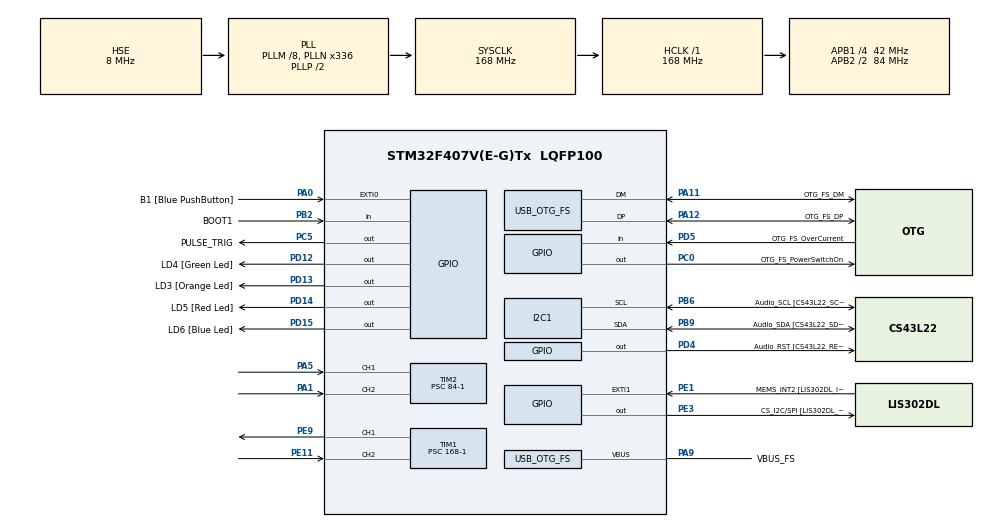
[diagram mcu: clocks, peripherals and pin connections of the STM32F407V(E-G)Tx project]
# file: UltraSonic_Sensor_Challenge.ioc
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Mcu.Family=STM32F4
Mcu.Name=STM32F407V(E-G)Tx
Mcu.Package=LQFP100
NVIC.OTG_FS_IRQn=true\:0\:0\:false\:false\:true\:true\:true\:true
NVIC.PriorityGroup=NVIC_PRIORITYGROUP_0
NVIC.TIM2_IRQn=true\:0\:0\:false\:false\:true\:true\:true\:true
PA0-WKUP.GPIO_Label=B1 [Blue PushButton]
PA0-WKUP.GPIO_ModeDefaultEXTI=GPIO_MODE_EVT_RISING
PA0-WKUP.GPIO_PuPd=GPIO_NOPULL
PA0-WKUP.Signal=GPXTI0
PA1.Signal=S_TIM2_CH2
PA10.GPIO_Label=OTG_FS_ID
PA10.GPIO_Mode=GPIO_MODE_AF_PP
PA10.GPIO_PuPd=GPIO_NOPULL
PA10.GPIO_Speed=GPIO_SPEED_FREQ_LOW
PA10.Signal=USB_OTG_FS_ID
PA11.GPIO_Label=OTG_FS_DM
PA11.GPIO_Mode=GPIO_MODE_AF_PP
PA11.GPIO_PuPd=GPIO_NOPULL
PA11.GPIO_Speed=GPIO_SPEED_FREQ_LOW
PA11.Mode=Host_Only
PA11.Signal=USB_OTG_FS_DM
PA12.GPIO_Label=OTG_FS_DP
PA12.GPIO_Mode=GPIO_MODE_AF_PP
PA12.GPIO_PuPd=GPIO_NOPULL
PA12.GPIO_Speed=GPIO_SPEED_FREQ_LOW
PA12.Mode=Host_Only
PA12.Signal=USB_OTG_FS_DP
PA13.GPIO_Label=SWDIO
PA13.Mode=Serial_Wire
PA13.Signal=SYS_JTMS-SWDIO
PA14.GPIO_Label=SWCLK
PA14.Mode=Serial_Wire
PA14.Signal=SYS_JTCK-SWCLK
PA5.Signal=S_TIM2_CH1_ETR
PA9.GPIO_Label=VBUS_FS
PA9.GPIO_Mode=GPIO_MODE_INPUT
PA9.GPIO_PuPd=GPIO_NOPULL
PA9.Mode=Activate_VBUS
PA9.Signal=USB_OTG_FS_VBUS
PB10.GPIO_Label=CLK_IN [MP45DT02_CLK]
PB10.GPIO_Mode=GPIO_MODE_AF_PP
PB10.GPIO_PuPd=GPIO_NOPULL
PB10.GPIO_Speed=GPIO_SPEED_FREQ_LOW
PB10.Signal=I2S2_CK
PB2.GPIO_Label=BOOT1
PB2.GPIO_Mode=GPIO_MODE_INPUT
PB2.GPIO_PuPd=GPIO_NOPULL
PB2.Signal=GPIO_Input
PB3.GPIO_Label=SWO
PB3.Signal=SYS_JTDO-SWO
PB6.GPIO_Label=Audio_SCL [CS43L22_SCL]
PB6.GPIO_Mode=GPIO_MODE_AF_OD
PB6.GPIO_Pu=GPIO_PULLUP
PB6.GPIO_PuPd=GPIO_NOPULL
PB6.GPIO_Speed=GPIO_SPEED_FREQ_LOW
PB6.Mode=I2C
PB6.Signal=I2C1_SCL
PB9.GPIO_Label=Audio_SDA [CS43L22_SDA]
PB9.GPIO_Mode=GPIO_MODE_AF_OD
PB9.GPIO_Pu=GPIO_PULLUP
PB9.GPIO_PuPd=GPIO_NOPULL
PB9.GPIO_Speed=GPIO_SPEED_FREQ_LOW
PB9.Mode=I2C
PB9.Signal=I2C1_SDA
PC0.GPIO_Label=OTG_FS_PowerSwitchOn
PC0.GPIO_PuPd=GPIO_NOPULL
PC0.GPIO_Speed=GPIO_SPEED_FREQ_LOW
PC0.PinState=GPIO_PIN_SET
PC0.Signal=GPIO_Output
PC10.GPIO_Label=I2S3_SCK [CS43L22_SCLK]
PC10.GPIO_Mode=GPIO_MODE_AF_PP
PC10.GPIO_PuPd=GPIO_NOPULL
PC10.GPIO_Speed=GPIO_SPEED_FREQ_LOW
PC10.Signal=I2S3_CK
PC12.GPIO_Label=I2S3_SD [CS43L22_SDIN]
PC12.GPIO_Mode=GPIO_MODE_AF_PP
PC12.GPIO_PuPd=GPIO_NOPULL
PC12.GPIO_Speed=GPIO_SPEED_FREQ_LOW
PC12.Signal=I2S3_SD
PC14-OSC32_IN.GPIO_Label=PC14-OSC32_IN
PC14-OSC32_IN.Mode=LSE-External-Oscillator
PC14-OSC32_IN.Signal=RCC_OSC32_IN
PC15-OSC32_OUT.GPIO_Label=PC15-OSC32_OUT
PC15-OSC32_OUT.Mode=LSE-External-Oscillator
PC15-OSC32_OUT.Signal=RCC_OSC32_OUT
PC3.GPIO_Label=PDM_OUT [MP45DT02_DOUT]
PC3.GPIO_Mode=GPIO_MODE_AF_PP
PC3.GPIO_PuPd=GPIO_NOPULL
PC3.GPIO_Speed=GPIO_SPEED_FREQ_LOW
PC3.Signal=I2S2_SD
PC5.GPIO_Label=PULSE_TRIG
PC5.Signal=GPIO_Output
PC7.GPIO_Label=I2S3_MCK [CS43L22_MCLK]
PC7.GPIO_Mode=GPIO_MODE_AF_PP
PC7.GPIO_PuPd=GPIO_NOPULL
PC7.GPIO_Speed=GPIO_SPEED_FREQ_LOW
PC7.Signal=I2S3_MCK
PD12.GPIO_Label=LD4 [Green Led]
PD12.GPIO_PuPd=GPIO_NOPULL
PD12.GPIO_Speed=GPIO_SPEED_FREQ_LOW
PD12.Signal=GPIO_Output
PD13.GPIO_Label=LD3 [Orange Led]
PD13.GPIO_PuPd=GPIO_NOPULL
PD13.GPIO_Speed=GPIO_SPEED_FREQ_LOW
PD13.Signal=GPIO_Output
PD14.GPIO_Label=LD5 [Red Led]
PD14.GPIO_PuPd=GPIO_NOPULL
PD14.GPIO_Speed=GPIO_SPEED_FREQ_LOW
PD14.Signal=GPIO_Output
PD15.GPIO_Label=LD6 [Blue Led]
PD15.GPIO_PuPd=GPIO_NOPULL
PD15.GPIO_Speed=GPIO_SPEED_FREQ_LOW
PD15.Signal=GPIO_Output
PD4.GPIO_Label=Audio_RST [CS43L22_RESET]
PD4.GPIO_PuPd=GPIO_NOPULL
PD4.GPIO_Speed=GPIO_SPEED_FREQ_LOW
PD4.Signal=GPIO_Output
PD5.GPIO_Label=OTG_FS_OverCurrent
PD5.GPIO_Mode=GPIO_MODE_INPUT
PD5.GPIO_PuPd=GPIO_NOPULL
PD5.Signal=GPIO_Input
PE1.GPIO_Label=MEMS_INT2 [LIS302DL_INT2]
PE1.GPIO_ModeDefaultEXTI=GPIO_MODE_EVT_RISING
PE1.GPIO_PuPd=GPIO_NOPULL
PE1.Signal=GPXTI1
PE11.Signal=S_TIM1_CH2
PE3.GPIO_Label=CS_I2C/SPI [LIS302DL_CS_I2C/SPI]
PE3.GPIO_PuPd=GPIO_NOPULL
PE3.GPIO_Speed=GPIO_SPEED_FREQ_LOW
PE3.Signal=GPIO_Output
PE9.Signal=S_TIM1_CH1
PH0-OSC_IN.GPIO_Label=PH0-OSC_IN
PH0-OSC_IN.Mode=HSE-External-Oscillator
PH0-OSC_IN.Signal=RCC_OSC_IN
PH1-OSC_OUT.GPIO_Label=PH1-OSC_OUT
PH1-OSC_OUT.Mode=HSE-External-Oscillator
PH1-OSC_OUT.Signal=RCC_OSC_OUT
ProjectManager.HeapSize=0x200
ProjectManager.StackSize=0x400
ProjectManager.TargetToolchain=STM32CubeIDE
RCC.48MHZClocksFreq_Value=48000000
RCC.AHBFreq_Value=168000000
RCC.APB1CLKDivider=RCC_HCLK_DIV4
RCC.APB1Freq_Value=42000000
RCC.APB1TimFreq_Value=84000000
RCC.APB2CLKDivider=RCC_HCLK_DIV2
RCC.APB2Freq_Value=84000000
RCC.APB2TimFreq_Value=168000000
RCC.CortexFreq_Value=168000000
RCC.HCLKFreq_Value=168000000
RCC.HSE_VALUE=8000000
RCC.HSI_VALUE=16000000
RCC.PLLM=8
RCC.PLLN=336
RCC.PLLQ=7
RCC.SYSCLKFreq_VALUE=168000000
RCC.SYSCLKSource=RCC_SYSCLKSOURCE_PLLCLK
RCC.VCOOutputFreq_Value=336000000
SH.S_TIM1_CH1.0=TIM1_CH1,PWM Generation1 CH1
SH.S_TIM1_CH2.0=TIM1_CH2,TriggerSource_TI2FP2
SH.S_TIM2_CH1_ETR.0=TIM2_CH1,Input_Capture1_from_TI1
SH.S_TIM2_CH2.0=TIM2_CH2,Input_Capture2_from_TI2
TIM1.Channel-PWM\ Generation1\ CH1=TIM_CHANNEL_1
TIM1.OCMode_PWM-PWM\ Generation1\ CH1=TIM_OCMODE_PWM2
TIM1.Period=20-1
TIM1.Prescaler=168-1
TIM1.Pulse-PWM\ Generation1\ CH1=10-1
TIM2.Channel-Input_Capture1_from_TI1=TIM_CHANNEL_1
TIM2.Channel-Input_Capture2_from_TI2=TIM_CHANNEL_2
TIM2.ICPolarity_CH1=TIM_INPUTCHANNELPOLARITY_RISING
TIM2.ICPolarity_CH2=TIM_INPUTCHANNELPOLARITY_FALLING
TIM2.Period=4294967295
TIM2.Prescaler=84-1
USB_HOST.BSP.number=1
USB_HOST.USBH_HandleTypeDef-CDC_FS=hUsbHostFS
USB_HOST.VirtualModeFS=Cdc
USB_HOST0.BSP.STBoard=false
USB_HOST0.BSP.api=Unknown
USB_HOST0.BSP.instance=PC0
USB_HOST0.BSP.ip=GPIO
USB_HOST0.BSP.mode=Output
USB_HOST0.BSP.name=Drive_VBUS_FS
USB_HOST0.BSP.solution=PC0
USB_OTG_FS.VirtualMode=Host_Only
USB_OTG_FS.phy_itface=HCD_PHY_EMBEDDED
VP_TIM1_VS_ControllerModeTrigger.Mode=Trigger Mode
VP_TIM1_VS_OPM.Mode=OPM_bit
VP_USB_HOST_VS_USB_HOST_CDC_FS.Mode=CDC_FS
board=STM32F407G-DISC1

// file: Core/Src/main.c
/* USER CODE BEGIN Header */
/**
  ******************************************************************************
  * @file           : main.c
  * @brief          : Main program body
  ******************************************************************************
  * @attention
  *
  * Copyright (c) 2025 STMicroelectronics.
  * All rights reserved.
  *
  * This software is licensed under terms that can be found in the LICENSE file
  * in the root directory of this software component.
  * If no LICENSE file comes with this software, it is provided AS-IS.
  *
  ******************************************************************************
  */
/* USER CODE END Header */
#include "main.h"
#include "usb_host.h"

I2C_HandleTypeDef hi2c1;

TIM_HandleTypeDef htim1;
TIM_HandleTypeDef htim2;

/* USER CODE BEGIN PV */

// Variable to save the time of the rising edge of the echo signal
uint32_t gRisingTime = 0;

// Variable to save the time of the falling edge of the echo signal
uint32_t gFallingTime = 0;

// Variable that is used to keep track of the period of the echo signal
uint32_t gTimeOn = 0;

// Variable that stores the converted period of the echo signal in cm
float gDistance = 0;

// Flag for the echo signal ISR
volatile int gEchoFlag = 0;
/* USER CODE END PV */

void SystemClock_Config(void);
static void MX_GPIO_Init(void);
static void MX_I2C1_Init(void);
static void MX_TIM1_Init(void);
static void MX_TIM2_Init(void);
void MX_USB_HOST_Process(void);

int main(void)
{

  /* MCU Configuration--------------------------------------------------------*/

  /* Reset of all peripherals, Initializes the Flash interface and the Systick. */
  HAL_Init();

  /* Configure the system clock */
  SystemClock_Config();

  /* Initialize all configured peripherals */
  MX_GPIO_Init();
  MX_I2C1_Init();
  MX_USB_HOST_Init();
  MX_TIM1_Init();
  MX_TIM2_Init();
  /* USER CODE BEGIN 2 */

  // Start Timer 1 in one pulse mode
  HAL_TIM_OnePulse_Start(&htim1, TIM_CHANNEL_1);

  // Sets the trigger pin to low
  HAL_GPIO_WritePin(PULSE_TRIG_GPIO_Port, PULSE_TRIG_Pin, GPIO_PIN_RESET);

  // Start Timer 2 in input capture mode on channel one and two
  // Channel one is used for the rising edge of the echo signal
  // Channel two is used for the falling edge of the echo signal
  HAL_TIM_IC_Start_IT(&htim2, TIM_CHANNEL_1);
  HAL_TIM_IC_Start_IT(&htim2, TIM_CHANNEL_2);

  /* USER CODE END 2 */

  /* Infinite loop */
  /* USER CODE BEGIN WHILE */
  while (1)
  {
	  // Set trigger pin to high
	  HAL_GPIO_WritePin(PULSE_TRIG_GPIO_Port, PULSE_TRIG_Pin, GPIO_PIN_SET);

	  // Wait 200 ms
	  HAL_Delay(200);

	  // Set trigger pin to low
	  HAL_GPIO_WritePin(PULSE_TRIG_GPIO_Port, PULSE_TRIG_Pin, GPIO_PIN_RESET);

	  // While loop that will hold the code until the echo ISR is triggered and the
	  // flag is changed
	  while (gEchoFlag == 0);

	  gEchoFlag = 0; // Resets the echo flag

	  if (gFallingTime >= gRisingTime)
	  {
	      gTimeOn = gFallingTime - gRisingTime; // Calculates the period of the echo signal
	  }
	  else
	  {
	      // Timer overflowed between captures
	      gTimeOn = (0xFFFFFFFF - gRisingTime) + gFallingTime + 1; // Used in cases of overflow
	  }

	  gDistance = gTimeOn / 58.0; // Converts period of echo wave to cm

    /* USER CODE END WHILE */
    MX_USB_HOST_Process();

  }
}

void SystemClock_Config(void)
{
  RCC_OscInitTypeDef RCC_OscInitStruct = {0};
  RCC_ClkInitTypeDef RCC_ClkInitStruct = {0};

  /** Configure the main internal regulator output voltage
  */
  __HAL_RCC_PWR_CLK_ENABLE();
  __HAL_PWR_VOLTAGESCALING_CONFIG(PWR_REGULATOR_VOLTAGE_SCALE1);

  /** Initializes the RCC Oscillators according to the specified parameters
  * in the RCC_OscInitTypeDef structure.
  */
  RCC_OscInitStruct.OscillatorType = RCC_OSCILLATORTYPE_HSE;
  RCC_OscInitStruct.HSEState = RCC_HSE_ON;
  RCC_OscInitStruct.PLL.PLLState = RCC_PLL_ON;
  RCC_OscInitStruct.PLL.PLLSource = RCC_PLLSOURCE_HSE;
  RCC_OscInitStruct.PLL.PLLM = 8;
  RCC_OscInitStruct.PLL.PLLN = 336;
  RCC_OscInitStruct.PLL.PLLP = RCC_PLLP_DIV2;
  RCC_OscInitStruct.PLL.PLLQ = 7;
  if (HAL_RCC_OscConfig(&RCC_OscInitStruct) != HAL_OK)
  {
    Error_Handler();
  }

  /** Initializes the CPU, AHB and APB buses clocks
  */
  RCC_ClkInitStruct.ClockType = RCC_CLOCKTYPE_HCLK|RCC_CLOCKTYPE_SYSCLK
                              |RCC_CLOCKTYPE_PCLK1|RCC_CLOCKTYPE_PCLK2;
  RCC_ClkInitStruct.SYSCLKSource = RCC_SYSCLKSOURCE_PLLCLK;
  RCC_ClkInitStruct.AHBCLKDivider = RCC_SYSCLK_DIV1;
  RCC_ClkInitStruct.APB1CLKDivider = RCC_HCLK_DIV4;
  RCC_ClkInitStruct.APB2CLKDivider = RCC_HCLK_DIV2;

  if (HAL_RCC_ClockConfig(&RCC_ClkInitStruct, FLASH_LATENCY_5) != HAL_OK)
  {
    Error_Handler();
  }
}

static void MX_I2C1_Init(void)
{

  hi2c1.Instance = I2C1;
  hi2c1.Init.ClockSpeed = 100000;
  hi2c1.Init.DutyCycle = I2C_DUTYCYCLE_2;
  hi2c1.Init.OwnAddress1 = 0;
  hi2c1.Init.AddressingMode = I2C_ADDRESSINGMODE_7BIT;
  hi2c1.Init.DualAddressMode = I2C_DUALADDRESS_DISABLE;
  hi2c1.Init.OwnAddress2 = 0;
  hi2c1.Init.GeneralCallMode = I2C_GENERALCALL_DISABLE;
  hi2c1.Init.NoStretchMode = I2C_NOSTRETCH_DISABLE;
  if (HAL_I2C_Init(&hi2c1) != HAL_OK)
  {
    Error_Handler();
  }

}

static void MX_TIM1_Init(void)
{

  TIM_SlaveConfigTypeDef sSlaveConfig = {0};
  TIM_MasterConfigTypeDef sMasterConfig = {0};
  TIM_OC_InitTypeDef sConfigOC = {0};
  TIM_BreakDeadTimeConfigTypeDef sBreakDeadTimeConfig = {0};

  htim1.Instance = TIM1;
  htim1.Init.Prescaler = 168-1;
  htim1.Init.CounterMode = TIM_COUNTERMODE_UP;
  htim1.Init.Period = 20-1;
  htim1.Init.ClockDivision = TIM_CLOCKDIVISION_DIV1;
  htim1.Init.RepetitionCounter = 0;
  htim1.Init.AutoReloadPreload = TIM_AUTORELOAD_PRELOAD_DISABLE;
  if (HAL_TIM_Base_Init(&htim1) != HAL_OK)
  {
    Error_Handler();
  }
  if (HAL_TIM_PWM_Init(&htim1) != HAL_OK)
  {
    Error_Handler();
  }
  if (HAL_TIM_OnePulse_Init(&htim1, TIM_OPMODE_SINGLE) != HAL_OK)
  {
    Error_Handler();
  }
  sSlaveConfig.SlaveMode = TIM_SLAVEMODE_TRIGGER;
  sSlaveConfig.InputTrigger = TIM_TS_TI2FP2;
  sSlaveConfig.TriggerPolarity = TIM_TRIGGERPOLARITY_RISING;
  sSlaveConfig.TriggerFilter = 0;
  if (HAL_TIM_SlaveConfigSynchro(&htim1, &sSlaveConfig) != HAL_OK)
  {
    Error_Handler();
  }
  sMasterConfig.MasterOutputTrigger = TIM_TRGO_RESET;
  sMasterConfig.MasterSlaveMode = TIM_MASTERSLAVEMODE_DISABLE;
  if (HAL_TIMEx_MasterConfigSynchronization(&htim1, &sMasterConfig) != HAL_OK)
  {
    Error_Handler();
  }
  sConfigOC.OCMode = TIM_OCMODE_PWM2;
  sConfigOC.Pulse = 10-1;
  sConfigOC.OCPolarity = TIM_OCPOLARITY_HIGH;
  sConfigOC.OCNPolarity = TIM_OCNPOLARITY_HIGH;
  sConfigOC.OCFastMode = TIM_OCFAST_DISABLE;
  sConfigOC.OCIdleState = TIM_OCIDLESTATE_RESET;
  sConfigOC.OCNIdleState = TIM_OCNIDLESTATE_RESET;
  if (HAL_TIM_PWM_ConfigChannel(&htim1, &sConfigOC, TIM_CHANNEL_1) != HAL_OK)
  {
    Error_Handler();
  }
  sBreakDeadTimeConfig.OffStateRunMode = TIM_OSSR_DISABLE;
  sBreakDeadTimeConfig.OffStateIDLEMode = TIM_OSSI_DISABLE;
  sBreakDeadTimeConfig.LockLevel = TIM_LOCKLEVEL_OFF;
  sBreakDeadTimeConfig.DeadTime = 0;
  sBreakDeadTimeConfig.BreakState = TIM_BREAK_DISABLE;
  sBreakDeadTimeConfig.BreakPolarity = TIM_BREAKPOLARITY_HIGH;
  sBreakDeadTimeConfig.AutomaticOutput = TIM_AUTOMATICOUTPUT_DISABLE;
  if (HAL_TIMEx_ConfigBreakDeadTime(&htim1, &sBreakDeadTimeConfig) != HAL_OK)
  {
    Error_Handler();
  }
  HAL_TIM_MspPostInit(&htim1);

}

static void MX_TIM2_Init(void)
{

  TIM_MasterConfigTypeDef sMasterConfig = {0};
  TIM_IC_InitTypeDef sConfigIC = {0};

  htim2.Instance = TIM2;
  htim2.Init.Prescaler = 84-1;
  htim2.Init.CounterMode = TIM_COUNTERMODE_UP;
  htim2.Init.Period = 4294967295;
  htim2.Init.ClockDivision = TIM_CLOCKDIVISION_DIV1;
  htim2.Init.AutoReloadPreload = TIM_AUTORELOAD_PRELOAD_DISABLE;
  if (HAL_TIM_IC_Init(&htim2) != HAL_OK)
  {
    Error_Handler();
  }
  sMasterConfig.MasterOutputTrigger = TIM_TRGO_RESET;
  sMasterConfig.MasterSlaveMode = TIM_MASTERSLAVEMODE_DISABLE;
  if (HAL_TIMEx_MasterConfigSynchronization(&htim2, &sMasterConfig) != HAL_OK)
  {
    Error_Handler();
  }
  sConfigIC.ICPolarity = TIM_INPUTCHANNELPOLARITY_RISING;
  sConfigIC.ICSelection = TIM_ICSELECTION_DIRECTTI;
  sConfigIC.ICPrescaler = TIM_ICPSC_DIV1;
  sConfigIC.ICFilter = 0;
  if (HAL_TIM_IC_ConfigChannel(&htim2, &sConfigIC, TIM_CHANNEL_1) != HAL_OK)
  {
    Error_Handler();
  }
  sConfigIC.ICPolarity = TIM_INPUTCHANNELPOLARITY_FALLING;
  if (HAL_TIM_IC_ConfigChannel(&htim2, &sConfigIC, TIM_CHANNEL_2) != HAL_OK)
  {
    Error_Handler();
  }

}

static void MX_GPIO_Init(void)
{
  GPIO_InitTypeDef GPIO_InitStruct = {0};

  /* GPIO Ports Clock Enable */
  __HAL_RCC_GPIOE_CLK_ENABLE();
  __HAL_RCC_GPIOC_CLK_ENABLE();
  __HAL_RCC_GPIOH_CLK_ENABLE();
  __HAL_RCC_GPIOA_CLK_ENABLE();
  __HAL_RCC_GPIOB_CLK_ENABLE();
  __HAL_RCC_GPIOD_CLK_ENABLE();

  /*Configure GPIO pin Output Level */
  HAL_GPIO_WritePin(CS_I2C_SPI_GPIO_Port, CS_I2C_SPI_Pin, GPIO_PIN_RESET);

  /*Configure GPIO pin Output Level */
  HAL_GPIO_WritePin(OTG_FS_PowerSwitchOn_GPIO_Port, OTG_FS_PowerSwitchOn_Pin, GPIO_PIN_SET);

  /*Configure GPIO pin Output Level */
  HAL_GPIO_WritePin(PULSE_TRIG_GPIO_Port, PULSE_TRIG_Pin, GPIO_PIN_RESET);

  /*Configure GPIO pin Output Level */
  HAL_GPIO_WritePin(GPIOD, LD4_Pin|LD3_Pin|LD5_Pin|LD6_Pin
                          |Audio_RST_Pin, GPIO_PIN_RESET);

  /*Configure GPIO pin : CS_I2C_SPI_Pin */
  GPIO_InitStruct.Pin = CS_I2C_SPI_Pin;
  GPIO_InitStruct.Mode = GPIO_MODE_OUTPUT_PP;
  GPIO_InitStruct.Pull = GPIO_NOPULL;
  GPIO_InitStruct.Speed = GPIO_SPEED_FREQ_LOW;
  HAL_GPIO_Init(CS_I2C_SPI_GPIO_Port, &GPIO_InitStruct);

  /*Configure GPIO pins : OTG_FS_PowerSwitchOn_Pin PULSE_TRIG_Pin */
  GPIO_InitStruct.Pin = OTG_FS_PowerSwitchOn_Pin|PULSE_TRIG_Pin;
  GPIO_InitStruct.Mode = GPIO_MODE_OUTPUT_PP;
  GPIO_InitStruct.Pull = GPIO_NOPULL;
  GPIO_InitStruct.Speed = GPIO_SPEED_FREQ_LOW;
  HAL_GPIO_Init(GPIOC, &GPIO_InitStruct);

  /*Configure GPIO pin : PDM_OUT_Pin */
  GPIO_InitStruct.Pin = PDM_OUT_Pin;
  GPIO_InitStruct.Mode = GPIO_MODE_AF_PP;
  GPIO_InitStruct.Pull = GPIO_NOPULL;
  GPIO_InitStruct.Speed = GPIO_SPEED_FREQ_LOW;
  GPIO_InitStruct.Alternate = GPIO_AF5_SPI2;
  HAL_GPIO_Init(PDM_OUT_GPIO_Port, &GPIO_InitStruct);

  /*Configure GPIO pin : B1_Pin */
  GPIO_InitStruct.Pin = B1_Pin;
  GPIO_InitStruct.Mode = GPIO_MODE_EVT_RISING;
  GPIO_InitStruct.Pull = GPIO_NOPULL;
  HAL_GPIO_Init(B1_GPIO_Port, &GPIO_InitStruct);

  /*Configure GPIO pin : BOOT1_Pin */
  GPIO_InitStruct.Pin = BOOT1_Pin;
  GPIO_InitStruct.Mode = GPIO_MODE_INPUT;
  GPIO_InitStruct.Pull = GPIO_NOPULL;
  HAL_GPIO_Init(BOOT1_GPIO_Port, &GPIO_InitStruct);

  /*Configure GPIO pin : CLK_IN_Pin */
  GPIO_InitStruct.Pin = CLK_IN_Pin;
  GPIO_InitStruct.Mode = GPIO_MODE_AF_PP;
  GPIO_InitStruct.Pull = GPIO_NOPULL;
  GPIO_InitStruct.Speed = GPIO_SPEED_FREQ_LOW;
  GPIO_InitStruct.Alternate = GPIO_AF5_SPI2;
  HAL_GPIO_Init(CLK_IN_GPIO_Port, &GPIO_InitStruct);

  /*Configure GPIO pins : LD4_Pin LD3_Pin LD5_Pin LD6_Pin
                           Audio_RST_Pin */
  GPIO_InitStruct.Pin = LD4_Pin|LD3_Pin|LD5_Pin|LD6_Pin
                          |Audio_RST_Pin;
  GPIO_InitStruct.Mode = GPIO_MODE_OUTPUT_PP;
  GPIO_InitStruct.Pull = GPIO_NOPULL;
  GPIO_InitStruct.Speed = GPIO_SPEED_FREQ_LOW;
  HAL_GPIO_Init(GPIOD, &GPIO_InitStruct);

  /*Configure GPIO pins : I2S3_MCK_Pin I2S3_SCK_Pin I2S3_SD_Pin */
  GPIO_InitStruct.Pin = I2S3_MCK_Pin|I2S3_SCK_Pin|I2S3_SD_Pin;
  GPIO_InitStruct.Mode = GPIO_MODE_AF_PP;
  GPIO_InitStruct.Pull = GPIO_NOPULL;
  GPIO_InitStruct.Speed = GPIO_SPEED_FREQ_LOW;
  GPIO_InitStruct.Alternate = GPIO_AF6_SPI3;
  HAL_GPIO_Init(GPIOC, &GPIO_InitStruct);

  /*Configure GPIO pin : OTG_FS_OverCurrent_Pin */
  GPIO_InitStruct.Pin = OTG_FS_OverCurrent_Pin;
  GPIO_InitStruct.Mode = GPIO_MODE_INPUT;
  GPIO_InitStruct.Pull = GPIO_NOPULL;
  HAL_GPIO_Init(OTG_FS_OverCurrent_GPIO_Port, &GPIO_InitStruct);

  /*Configure GPIO pin : MEMS_INT2_Pin */
  GPIO_InitStruct.Pin = MEMS_INT2_Pin;
  GPIO_InitStruct.Mode = GPIO_MODE_EVT_RISING;
  GPIO_InitStruct.Pull = GPIO_NOPULL;
  HAL_GPIO_Init(MEMS_INT2_GPIO_Port, &GPIO_InitStruct);

}

/* USER CODE BEGIN 4 */

// Timer 2 ISR for channel 1 and channel 2
void HAL_TIM_IC_CaptureCallback(TIM_HandleTypeDef *htim) {
    if (htim->Channel == HAL_TIM_ACTIVE_CHANNEL_1)
    {
        gRisingTime = HAL_TIM_ReadCapturedValue(htim, TIM_CHANNEL_1); // Saves time of rising edge
    }
    if (htim->Channel == HAL_TIM_ACTIVE_CHANNEL_2)
    {
        gFallingTime = HAL_TIM_ReadCapturedValue(htim, TIM_CHANNEL_2); // Saves time of falling edge
    }
    gEchoFlag = 1; // Changes echo signal flag so that the main loop can continue
}

/* USER CODE END 4 */

void Error_Handler(void)
{
  __disable_irq();
  while (1)
  {
  }
}
